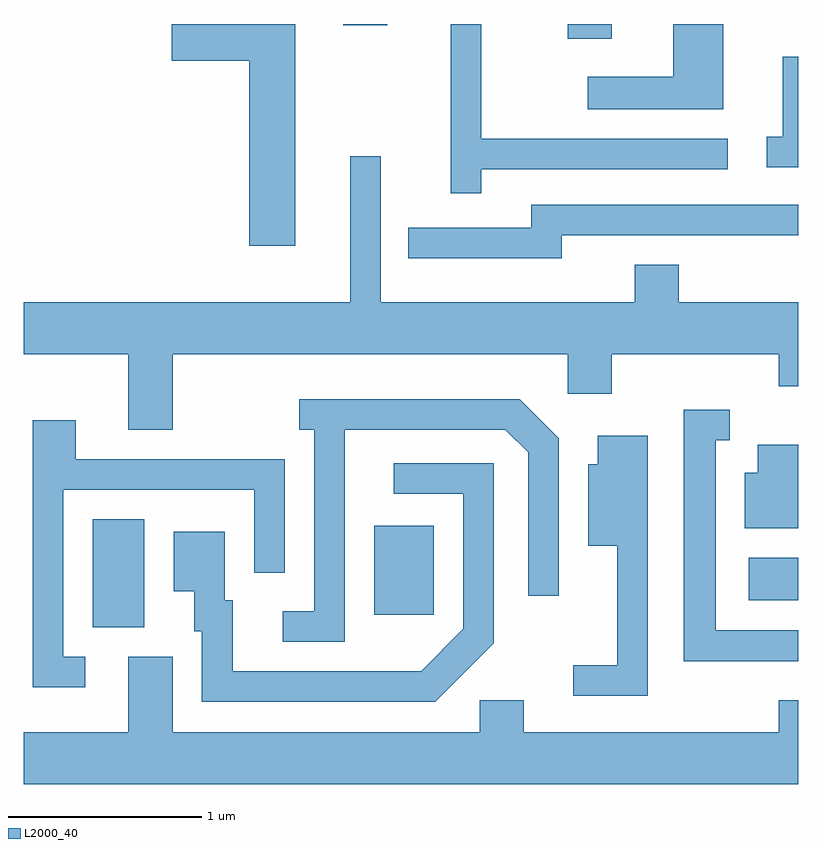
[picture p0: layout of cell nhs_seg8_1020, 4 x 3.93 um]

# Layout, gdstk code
import gdstk
lib = gdstk.Library(unit=1e-6, precision=1e-09)
def R(c, l, rs):  # rectangles x0, y0, x1, y1
    for r in rs: c.add(gdstk.rectangle(r[:2], r[2:], *l))
def P(c, l, *ps):  # polygons
    for p in ps: c.add(gdstk.Polygon(p, *l))
L2000_40 = (2000, 40)

nhs_seg8_1020 = lib.new_cell('nhs_seg8_1020')
R(nhs_seg8_1020, L2000_40, [(215.966,1837.226,216.234,1837.784), (217.421,1837.291,217.729,1837.749), (219.356,1837.366,219.611,1837.584), (218.421,1840.266,218.649,1840.342), (217.261,1840.336,217.489,1840.342)])
P(nhs_seg8_1020, L2000_40, [(217.014,1840.342),(216.376,1840.342),(216.376,1840.151),(216.776,1840.151),(216.776,1839.196),(217.014,1839.196)],
  [(219.224,1840.342),(218.966,1840.342),(218.966,1840.069),(218.523,1840.069),(218.523,1839.901),(219.224,1839.901)],
  [(217.974,1839.591),(219.248,1839.591),(219.248,1839.749),(217.974,1839.749),(217.974,1840.342),(217.816,1840.342),(217.816,1839.468),(217.974,1839.468)],
  [(219.611,1840.174),(219.531,1840.174),(219.531,1839.759),(219.448,1839.759),(219.448,1839.601),(219.611,1839.601)],
  [(216.379,1838.636),(218.421,1838.636),(218.421,1838.431),(218.649,1838.431),(218.649,1838.636),(219.511,1838.636),(219.511,1838.471),(219.611,1838.471),(219.611,1838.904),(218.994,1838.904),(218.994,1839.099),(218.766,1839.099),(218.766,1838.904),(217.454,1838.904),(217.454,1839.658),(217.296,1839.658),(217.296,1838.904),(215.611,1838.904),(215.611,1838.636),(216.151,1838.636),(216.151,1838.246),(216.379,1838.246)],
  [(218.389,1839.251),(219.611,1839.251),(219.611,1839.409),(218.231,1839.409),(218.231,1839.289),(217.598,1839.289),(217.598,1839.131),(218.389,1839.131)],
  [(217.269,1838.246),(218.099,1838.246),(218.216,1838.129),(218.216,1837.388),(218.374,1837.388),(218.374,1838.202),(218.172,1838.404),(217.033,1838.404),(217.033,1838.246),(217.111,1838.246),(217.111,1837.309),(216.948,1837.309),(216.948,1837.151),(217.269,1837.151)],
  [(219.611,1837.209),(219.184,1837.209),(219.184,1838.191),(219.258,1838.191),(219.258,1838.349),(219.021,1838.349),(219.021,1837.051),(219.611,1837.051)],
  [(215.928,1837.074),(215.814,1837.074),(215.814,1837.936),(216.801,1837.936),(216.801,1837.508),(216.959,1837.508),(216.959,1838.094),(215.879,1838.094),(215.879,1838.294),(215.656,1838.294),(215.656,1836.916),(215.928,1836.916)],
  [(218.834,1838.214),(218.576,1838.214),(218.576,1838.069),(218.526,1838.069),(218.526,1837.646),(218.676,1837.646),(218.676,1837.029),(218.448,1837.029),(218.448,1836.871),(218.834,1836.871)],
  [(219.611,1838.169),(219.401,1838.169),(219.401,1838.024),(219.336,1838.024),(219.336,1837.736),(219.611,1837.736)],
  [(218.039,1837.144),(218.039,1838.074),(217.523,1838.074),(217.523,1837.916),(217.881,1837.916),(217.881,1837.217),(217.664,1836.999),(216.689,1836.999),(216.689,1837.364),(216.649,1837.364),(216.649,1837.719),(216.386,1837.719),(216.386,1837.411),(216.491,1837.411),(216.491,1837.206),(216.531,1837.206),(216.531,1836.841),(217.737,1836.841)],
  [(219.611,1836.849),(219.511,1836.849),(219.511,1836.684),(218.194,1836.684),(218.194,1836.849),(217.966,1836.849),(217.966,1836.684),(216.379,1836.684),(216.379,1837.074),(216.151,1837.074),(216.151,1836.684),(215.611,1836.684),(215.611,1836.416),(219.611,1836.416)])

lib.write_gds('nhs_seg8_1020.gds')
